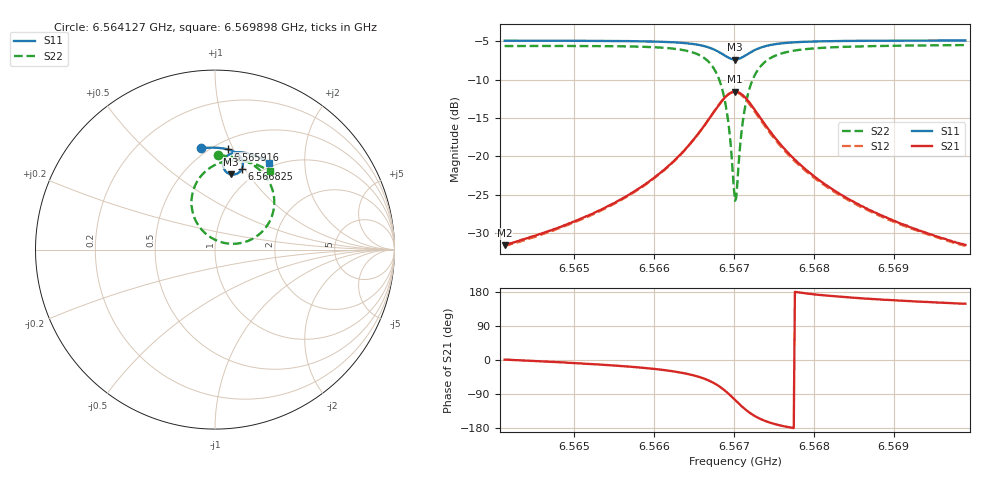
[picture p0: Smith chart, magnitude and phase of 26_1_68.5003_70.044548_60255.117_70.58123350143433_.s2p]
#  HZ  S  RI  R  50.00
! Rohde & Schwarz Vector Network Analyzer
! Rohde-Schwarz,ZNB20-2Port,1311601062101988,3.16
! Created: UTC 3/20/2024, 5:04:52 PM
! freq[Hz]  re:S11  im:S11  re:S21  im:S21  re:S12  im:S12  re:S22  im:S22
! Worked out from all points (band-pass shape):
!   401 points, 6.564127 GHz to 6.569898 GHz, reference 50 ohm
!   highest |S21| = -11.55 dB at 6.567013 GHz (marker M1); lowest = -31.6 dB at 6.564127 GHz (marker M2)
!   |S21| within 3 dB of the highest: 6.566726 GHz to 6.567302 GHz (575.9 kHz wide, 0.00877 % of centre)
!   lowest |S11| = -7.4 dB at 6.567013 GHz (marker M3), VSWR 2.50, Z = 40.6 + j41.6 ohm
!   |S11| at or under -10 dB: nowhere
!   |S22| runs from -25.8 to -5.5 dB; largest |S21 - S12| = 0.012
!   S11 on the Smith chart (normalised r, x): 6.564127 GHz: 0.46, +0.76; 6.565916 GHz: 0.58, +0.95; 6.566825 GHz: 0.84, +0.97; 6.569898 GHz: 0.93, +1.34
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6.5641273e9  -0.0804 0.5634  0.0262 0.000373  0.0259 -3.71e-05  0.0183 0.5247
6.565094e9  -0.00222 0.5679  0.0389 -0.00633  0.0382 -0.00681  0.1072 0.5142
6.5659163e9  0.0721 0.5582  0.0625 -0.025  0.0615 -0.0256  0.2065 0.475
6.5660606e9  0.0868 0.5537  0.0695 -0.0323  0.0684 -0.0333  0.2291 0.4599
6.566378e9  0.1221 0.5356  0.0896 -0.0626  0.0882 -0.064  0.2876 0.3997
6.5665944e9  0.1466 0.5087  0.1028 -0.1092  0.1005 -0.1113  0.326 0.3098
6.5667242e9  0.1553 0.4804  0.0986 -0.1586  0.0948 -0.1615  0.3253 0.2158
6.5668252e9  0.1501 0.451  0.0727 -0.2093  0.0662 -0.2121  0.2807 0.1206
6.5669118e9  0.1298 0.4268  0.0208 -0.2485  0.0114 -0.2492  0.1867 0.0494
6.5669406e9  0.1193 0.4215  -0.00305 -0.2565  -0.0132 -0.2557  0.1436 0.0366
6.5669983e9  0.0948 0.4181  -0.0562 -0.2582  -0.0668 -0.2538  0.0492 0.0376
6.5670128e9  0.0886 0.419  -0.0697 -0.2552  -0.08 -0.2499  0.0259 0.0442
6.5670416e9  0.0766 0.4231  -0.0951 -0.2455  -0.1047 -0.2384  -0.0177 0.0641
6.5670993e9  0.0574 0.4381  -0.1368 -0.2136  -0.1433 -0.2041  -0.0856 0.1252
6.5671426e9  0.0486 0.453  -0.1568 -0.1838  -0.161 -0.1733  -0.1158 0.18
6.5672003e9  0.0447 0.4733  -0.1695 -0.1436  -0.1709 -0.1337  -0.1308 0.2516
6.5672724e9  0.0487 0.4952  -0.1693 -0.1008  -0.1683 -0.0923  -0.1223 0.326
6.5675321e9  0.0878 0.5344  -0.1269 -0.0217  -0.1242 -0.0183  -0.0259 0.457
6.5679794e9  0.1464 0.5422  -0.0753 0.00811  -0.0736 0.00936  0.095 0.4966
6.5684266e9  0.1903 0.534  -0.0511 0.0134  -0.0501 0.0139  0.1659 0.4922
6.568946e9  0.2335 0.5192  -0.0362 0.0146  -0.0355 0.0147  0.2243 0.4766
6.5698982e9  0.3023 0.4843  -0.0225 0.0138  -0.0219 0.014  0.3039 0.4372
